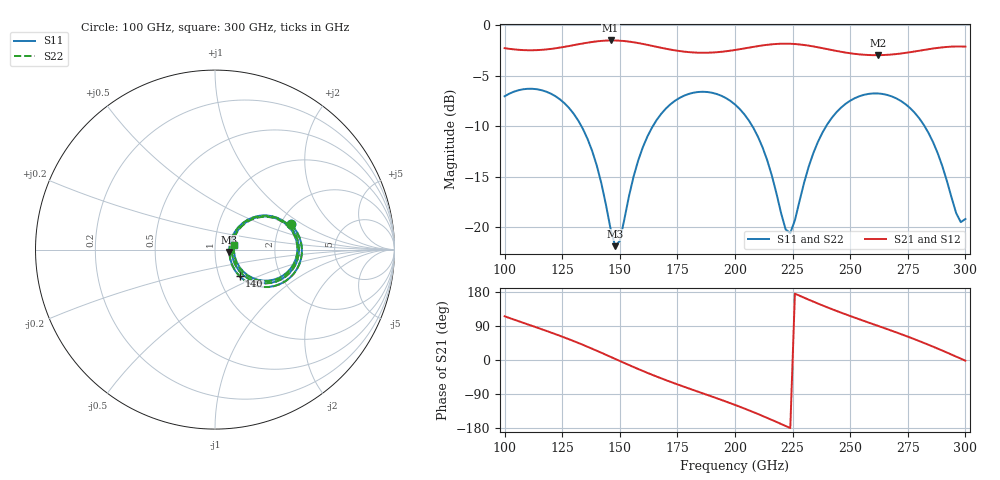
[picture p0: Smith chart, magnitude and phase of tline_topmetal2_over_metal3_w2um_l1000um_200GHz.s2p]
#  GHZ S DB R 50
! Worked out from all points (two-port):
!   101 points, 100 GHz to 300 GHz, reference 50 ohm
!   highest |S21| = -1.52 dB at 146 GHz (marker M1); lowest = -3.0 dB at 262 GHz (marker M2)
!   |S21| within 3 dB of the highest: start of sweep to end of sweep
!   lowest |S11| = -21.9 dB at 148 GHz (marker M3), VSWR 1.18, Z = 58.6 - j1.53 ohm
!   |S11| at or under -10 dB: 133.3 GHz to 164.4 GHz (31.03 GHz wide, 20.9 % of centre); 207.5 GHz to 239.6 GHz (32.07 GHz wide, 14.3 % of centre); 282.3 GHz to end of sweep
!   |S22| runs from -21.9 to -6.3 dB; largest |S21 - S12| = 9.2e-14
!   S11 on the Smith chart (normalised r, x): 100 GHz: 2.26, +0.80; 140 GHz: 1.25, -0.39; 300 GHz: 1.24, +0.06
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100  -7.04 18.7  -2.28 115.4  -2.28 115.4  -7.04 18.5
116  -6.44 -9.9  -2.45 81.4  -2.45 81.4  -6.43 -10.0
126  -7.73 -27.8  -2.15 59.3  -2.15 59.3  -7.73 -28.0
134  -10.28 -41.3  -1.81 40.0  -1.81 40.0  -10.28 -41.4
140  -13.90 -47.3  -1.61 24.5  -1.61 24.5  -13.90 -47.4
146  -20.17 -31.0  -1.52 8.3  -1.52 8.3  -20.16 -31.1
148  -21.88 -9.3  -1.52 2.9  -1.52 2.9  -21.86 -9.4
150  -21.35 16.7  -1.54 -2.6  -1.54 -2.6  -21.33 16.5
158  -13.39 43.8  -1.77 -23.8  -1.77 -23.8  -13.38 43.6
168  -8.77 30.9  -2.24 -48.5  -2.24 -48.5  -8.77 30.7
184  -6.62 3.4  -2.73 -83.7  -2.73 -83.7  -6.61 3.2
200  -7.86 -24.1  -2.46 -118.5  -2.46 -118.5  -7.85 -24.2
212  -12.12 -41.1  -2.01 -147.7  -2.01 -147.7  -12.11 -41.1
222  -20.24 -14.4  -1.83 -174.2  -1.83 -174.2  -20.14 -14.6
224  -20.57 6.5  -1.84 -179.6  -1.84 -179.6  -20.46 6.1
234  -12.67 41.4  -2.11 154.0  -2.11 154.0  -12.65 40.8
246  -8.17 25.8  -2.64 125.1  -2.64 125.1  -8.17 25.3
262  -6.76 -0.8  -2.97 90.2  -2.97 90.2  -6.76 -1.3
268  -7.05 -10.8  -2.91 77.3  -2.91 77.3  -7.05 -11.3
284  -10.68 -35.1  -2.38 40.1  -2.38 40.1  -10.68 -35.7
296  -18.61 -19.7  -2.11 8.9  -2.11 8.9  -18.65 -20.4
300  -19.19 13.3  -2.13 -1.8  -2.13 -1.8  -19.25 12.8
